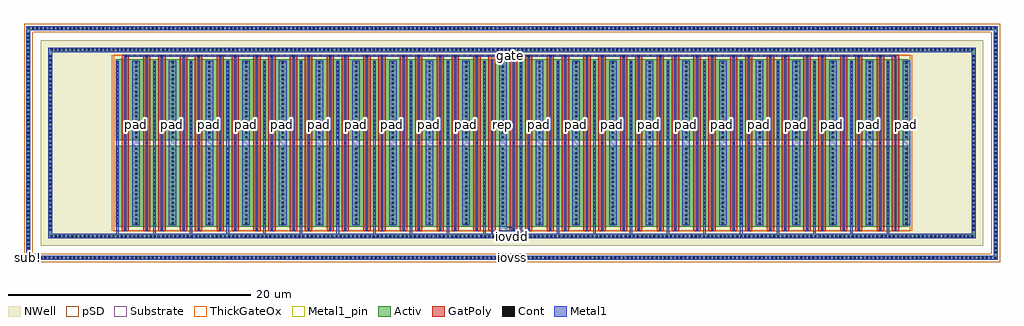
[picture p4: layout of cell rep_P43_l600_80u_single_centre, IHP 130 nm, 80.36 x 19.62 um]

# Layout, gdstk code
import gdstk
lib = gdstk.Library(unit=1e-6, precision=1e-09)
def R(c, l, rs):  # rectangles x0, y0, x1, y1
    for r in rs: c.add(gdstk.rectangle(r[:2], r[2:], *l))
def A(c, l, x, y, w, h, nx, ny, dx, dy):  # array of equal rectangles
    R(c, l, [(x+i*dx, y+j*dy, x+i*dx+w, y+j*dy+h) for i in range(nx) for j in range(ny)])
def P(c, l, *ps):  # polygons
    for p in ps: c.add(gdstk.Polygon(p, *l))
Activ = (1, 0)
GatPoly = (5, 0)
Cont = (6, 0)
Metal1 = (8, 0)
Metal1_pin = (8, 2)
pSD = (14, 0)
NWell = (31, 0)
Substrate = (40, 0)
ThickGateOx = (44, 0)

rep_p43_l600_80u_single_ = lib.new_cell('rep_P43_l600_80u_single_centre')
R(rep_p43_l600_80u_single_, Activ, [(7.385,2.75,72.615,9.41), (7.385,9.85,72.615,16.51)])
P(rep_p43_l600_80u_single_, Activ, [(1.8,1.8),(1.8,17.12),(2.14,17.12),(2.14,2.14),(77.86,2.14),(77.86,17.12),(1.8,17.12),(1.8,17.46),(78.2,17.46),(78.2,1.8)],
  [(0,0),(0,18.92),(0.34,18.92),(0.34,0.34),(79.66,0.34),(79.66,18.92),(0,18.92),(0,19.26),(80,19.26),(80,0)])
R(rep_p43_l600_80u_single_, GatPoly, [(7.855,2.38,8.455,16.88), (9.635,2.38,10.235,16.88), (10.875,2.38,11.475,16.88), (12.655,2.38,13.255,16.88), (13.895,2.38,14.495,16.88), (15.675,2.38,16.275,16.88), (16.915,2.38,17.515,16.88), (18.695,2.38,19.295,16.88), (19.935,2.38,20.535,16.88), (21.715,2.38,22.315,16.88), (22.955,2.38,23.555,16.88), (24.735,2.38,25.335,16.88), (25.975,2.38,26.575,16.88), (27.755,2.38,28.355,16.88), (28.995,2.38,29.595,16.88), (30.775,2.38,31.375,16.88), (32.015,2.38,32.615,16.88), (33.795,2.38,34.395,16.88), (35.035,2.38,35.635,16.88), (36.815,2.38,37.415,16.88), (38.055,2.38,38.655,16.88), (39.835,2.38,40.435,16.88), (41.075,2.38,41.675,16.88), (42.855,2.38,43.455,16.88), (44.095,2.38,44.695,16.88), (45.875,2.38,46.475,16.88), (47.115,2.38,47.715,16.88), (48.895,2.38,49.495,16.88), (50.135,2.38,50.735,16.88), (51.915,2.38,52.515,16.88), (53.155,2.38,53.755,16.88), (54.935,2.38,55.535,16.88), (56.175,2.38,56.775,16.88), (57.955,2.38,58.555,16.88), (59.195,2.38,59.795,16.88), (60.975,2.38,61.575,16.88), (62.215,2.38,62.815,16.88), (63.995,2.38,64.595,16.88), (65.235,2.38,65.835,16.88), (67.015,2.38,67.615,16.88), (68.255,2.38,68.855,16.88), (70.035,2.38,70.635,16.88), (71.275,2.38,71.875,16.88)])
A(rep_p43_l600_80u_single_, Cont, 0.14, 0.09, 0.16, 0.16, 235, 2, 0.34, 18.92)
A(rep_p43_l600_80u_single_, Cont, 0.09, 0.54, 0.16, 0.16, 1, 54, 0, 0.34)
A(rep_p43_l600_80u_single_, Cont, 79.75, 0.54, 0.16, 0.16, 1, 54, 0, 0.34)
A(rep_p43_l600_80u_single_, Cont, 2.01, 1.89, 0.16, 0.16, 224, 2, 0.34, 15.32)
A(rep_p43_l600_80u_single_, Cont, 1.89, 2.41, 0.16, 0.16, 1, 43, 0, 0.34)
A(rep_p43_l600_80u_single_, Cont, 77.95, 2.41, 0.16, 0.16, 1, 43, 0, 0.34)
A(rep_p43_l600_80u_single_, Cont, 8.075, 2.45, 0.16, 0.16, 1, 3, 0, 7.1)
A(rep_p43_l600_80u_single_, Cont, 9.855, 2.45, 0.16, 0.16, 1, 3, 0, 7.1)
A(rep_p43_l600_80u_single_, Cont, 11.095, 2.45, 0.16, 0.16, 1, 3, 0, 7.1)
A(rep_p43_l600_80u_single_, Cont, 12.875, 2.45, 0.16, 0.16, 1, 3, 0, 7.1)
A(rep_p43_l600_80u_single_, Cont, 14.115, 2.45, 0.16, 0.16, 1, 3, 0, 7.1)
A(rep_p43_l600_80u_single_, Cont, 15.895, 2.45, 0.16, 0.16, 1, 3, 0, 7.1)
A(rep_p43_l600_80u_single_, Cont, 17.135, 2.45, 0.16, 0.16, 1, 3, 0, 7.1)
A(rep_p43_l600_80u_single_, Cont, 18.915, 2.45, 0.16, 0.16, 1, 3, 0, 7.1)
A(rep_p43_l600_80u_single_, Cont, 20.155, 2.45, 0.16, 0.16, 1, 3, 0, 7.1)
A(rep_p43_l600_80u_single_, Cont, 21.935, 2.45, 0.16, 0.16, 1, 3, 0, 7.1)
A(rep_p43_l600_80u_single_, Cont, 23.175, 2.45, 0.16, 0.16, 1, 3, 0, 7.1)
A(rep_p43_l600_80u_single_, Cont, 24.955, 2.45, 0.16, 0.16, 1, 3, 0, 7.1)
A(rep_p43_l600_80u_single_, Cont, 26.195, 2.45, 0.16, 0.16, 1, 3, 0, 7.1)
A(rep_p43_l600_80u_single_, Cont, 27.975, 2.45, 0.16, 0.16, 1, 3, 0, 7.1)
A(rep_p43_l600_80u_single_, Cont, 29.215, 2.45, 0.16, 0.16, 1, 3, 0, 7.1)
A(rep_p43_l600_80u_single_, Cont, 30.995, 2.45, 0.16, 0.16, 1, 3, 0, 7.1)
A(rep_p43_l600_80u_single_, Cont, 32.235, 2.45, 0.16, 0.16, 1, 3, 0, 7.1)
A(rep_p43_l600_80u_single_, Cont, 34.015, 2.45, 0.16, 0.16, 1, 3, 0, 7.1)
A(rep_p43_l600_80u_single_, Cont, 35.255, 2.45, 0.16, 0.16, 1, 3, 0, 7.1)
A(rep_p43_l600_80u_single_, Cont, 37.035, 2.45, 0.16, 0.16, 1, 3, 0, 7.1)
A(rep_p43_l600_80u_single_, Cont, 41.295, 2.45, 0.16, 0.16, 1, 3, 0, 7.1)
A(rep_p43_l600_80u_single_, Cont, 43.075, 2.45, 0.16, 0.16, 1, 3, 0, 7.1)
A(rep_p43_l600_80u_single_, Cont, 44.315, 2.45, 0.16, 0.16, 1, 3, 0, 7.1)
A(rep_p43_l600_80u_single_, Cont, 46.095, 2.45, 0.16, 0.16, 1, 3, 0, 7.1)
A(rep_p43_l600_80u_single_, Cont, 47.335, 2.45, 0.16, 0.16, 1, 3, 0, 7.1)
A(rep_p43_l600_80u_single_, Cont, 49.115, 2.45, 0.16, 0.16, 1, 3, 0, 7.1)
A(rep_p43_l600_80u_single_, Cont, 50.355, 2.45, 0.16, 0.16, 1, 3, 0, 7.1)
A(rep_p43_l600_80u_single_, Cont, 52.135, 2.45, 0.16, 0.16, 1, 3, 0, 7.1)
A(rep_p43_l600_80u_single_, Cont, 53.375, 2.45, 0.16, 0.16, 1, 3, 0, 7.1)
A(rep_p43_l600_80u_single_, Cont, 55.155, 2.45, 0.16, 0.16, 1, 3, 0, 7.1)
A(rep_p43_l600_80u_single_, Cont, 56.395, 2.45, 0.16, 0.16, 1, 3, 0, 7.1)
A(rep_p43_l600_80u_single_, Cont, 58.175, 2.45, 0.16, 0.16, 1, 3, 0, 7.1)
A(rep_p43_l600_80u_single_, Cont, 59.415, 2.45, 0.16, 0.16, 1, 3, 0, 7.1)
A(rep_p43_l600_80u_single_, Cont, 61.195, 2.45, 0.16, 0.16, 1, 3, 0, 7.1)
A(rep_p43_l600_80u_single_, Cont, 62.435, 2.45, 0.16, 0.16, 1, 3, 0, 7.1)
A(rep_p43_l600_80u_single_, Cont, 64.215, 2.45, 0.16, 0.16, 1, 3, 0, 7.1)
A(rep_p43_l600_80u_single_, Cont, 65.455, 2.45, 0.16, 0.16, 1, 3, 0, 7.1)
A(rep_p43_l600_80u_single_, Cont, 67.235, 2.45, 0.16, 0.16, 1, 3, 0, 7.1)
A(rep_p43_l600_80u_single_, Cont, 68.475, 2.45, 0.16, 0.16, 1, 3, 0, 7.1)
A(rep_p43_l600_80u_single_, Cont, 70.255, 2.45, 0.16, 0.16, 1, 3, 0, 7.1)
A(rep_p43_l600_80u_single_, Cont, 71.495, 2.45, 0.16, 0.16, 1, 3, 0, 7.1)
A(rep_p43_l600_80u_single_, Cont, 7.455, 2.94, 0.16, 0.16, 44, 19, 1.51, 0.34)
A(rep_p43_l600_80u_single_, Cont, 7.455, 10.04, 0.16, 0.16, 44, 19, 1.51, 0.34)
R(rep_p43_l600_80u_single_, Cont, [(38.275,2.45,38.435,2.61), (40.055,2.45,40.215,2.61), (38.275,9.55,38.435,9.71), (40.055,9.55,40.215,9.71)])
A(rep_p43_l600_80u_single_, Metal1, 7.43, 1.8, 0.21, 14.6, 22, 1, 3.02, 0)
A(rep_p43_l600_80u_single_, Metal1, 8.735, 2.86, 0.62, 13.54, 10, 1, 3.02, 0)
A(rep_p43_l600_80u_single_, Metal1, 41.955, 2.86, 0.62, 13.54, 11, 1, 3.02, 0)
R(rep_p43_l600_80u_single_, Metal1, [(38.275,1.8,38.435,16.51), (8.075,2.37,8.235,16.73), (9.855,2.37,10.015,16.73), (11.095,2.37,11.255,16.73), (12.875,2.37,13.035,16.73), (14.115,2.37,14.275,16.73), (15.895,2.37,16.055,16.73), (17.135,2.37,17.295,16.73), (18.915,2.37,19.075,16.73), (20.155,2.37,20.315,16.73), (21.935,2.37,22.095,16.73), (23.175,2.37,23.335,16.73), (24.955,2.37,25.115,16.73), (26.195,2.37,26.355,16.73), (27.975,2.37,28.135,16.73), (29.215,2.37,29.375,16.73), (30.995,2.37,31.155,16.73), (32.235,2.37,32.395,16.73), (34.015,2.37,34.175,16.73), (35.255,2.37,35.415,16.73), (37.035,2.37,37.195,16.73), (38.935,2.37,39.555,16.4), (38.935,2.37,40.215,2.69), (40.055,2.37,40.215,16.51), (41.295,2.37,41.455,16.73), (43.075,2.37,43.235,16.73), (44.315,2.37,44.475,16.73), (46.095,2.37,46.255,16.73), (47.335,2.37,47.495,16.73), (49.115,2.37,49.275,16.73), (50.355,2.37,50.515,16.73), (52.135,2.37,52.295,16.73), (53.375,2.37,53.535,16.73), (55.155,2.37,55.315,16.73), (56.395,2.37,56.555,16.73), (58.175,2.37,58.335,16.73), (59.415,2.37,59.575,16.73), (61.195,2.37,61.355,16.73), (62.435,2.37,62.595,16.73), (64.215,2.37,64.375,16.73), (65.455,2.37,65.615,16.73), (67.235,2.37,67.395,16.73), (68.475,2.37,68.635,16.73), (70.255,2.37,70.415,16.73), (71.495,2.37,71.655,16.73), (8.075,16.73,71.655,16.89)])
P(rep_p43_l600_80u_single_, Metal1, [(1.8,1.8),(1.8,17.12),(2.14,17.12),(2.14,2.14),(77.86,2.14),(77.86,17.12),(1.8,17.12),(1.8,17.46),(78.2,17.46),(78.2,1.8)],
  [(0,0),(0,18.92),(0.34,18.92),(0.34,0.34),(79.66,0.34),(79.66,18.92),(0,18.92),(0,19.26),(80,19.26),(80,0)])
A(rep_p43_l600_80u_single_, Metal1_pin, 8.735, 2.86, 0.62, 13.54, 10, 1, 3.02, 0)
A(rep_p43_l600_80u_single_, Metal1_pin, 41.955, 2.86, 0.62, 13.54, 11, 1, 3.02, 0)
R(rep_p43_l600_80u_single_, Metal1_pin, [(0,0,80,0.34), (1.8,1.8,78.2,2.14), (38.935,2.37,39.555,16.4), (8.075,16.73,71.655,16.89)])
R(rep_p43_l600_80u_single_, pSD, [(7.205,2.35,72.795,16.91)])
P(rep_p43_l600_80u_single_, pSD, [(-0.18,-0.18),(-0.18,18.74),(0.52,18.74),(0.52,0.52),(79.48,0.52),(79.48,18.74),(-0.18,18.74),(-0.18,19.44),(80.18,19.44),(80.18,-0.18)])
R(rep_p43_l600_80u_single_, NWell, [(1.18,1.18,78.82,18.08), (6.765,2.13,73.235,17.13)])
P(rep_p43_l600_80u_single_, Substrate, [(0,0),(0,18.92),(0.34,18.92),(0.34,0.34),(79.66,0.34),(79.66,18.92),(0,18.92),(0,19.26),(80,19.26),(80,0)])
R(rep_p43_l600_80u_single_, ThickGateOx, [(7.045,2.41,72.955,16.85)])
rep_p43_l600_80u_single_.add(gdstk.Label('pad', (9.045,11.163), layer=8, texttype=25))
rep_p43_l600_80u_single_.add(gdstk.Label('pad', (12.065,11.163), layer=8, texttype=25))
rep_p43_l600_80u_single_.add(gdstk.Label('pad', (15.085,11.163), layer=8, texttype=25))
rep_p43_l600_80u_single_.add(gdstk.Label('pad', (18.105,11.163), layer=8, texttype=25))
rep_p43_l600_80u_single_.add(gdstk.Label('pad', (21.125,11.163), layer=8, texttype=25))
rep_p43_l600_80u_single_.add(gdstk.Label('pad', (24.145,11.163), layer=8, texttype=25))
rep_p43_l600_80u_single_.add(gdstk.Label('pad', (27.165,11.163), layer=8, texttype=25))
rep_p43_l600_80u_single_.add(gdstk.Label('pad', (30.185,11.163), layer=8, texttype=25))
rep_p43_l600_80u_single_.add(gdstk.Label('pad', (33.205,11.163), layer=8, texttype=25))
rep_p43_l600_80u_single_.add(gdstk.Label('pad', (36.225,11.163), layer=8, texttype=25))
rep_p43_l600_80u_single_.add(gdstk.Label('rep', (39.245,11.163), layer=8, texttype=25))
rep_p43_l600_80u_single_.add(gdstk.Label('pad', (42.265,11.163), layer=8, texttype=25))
rep_p43_l600_80u_single_.add(gdstk.Label('pad', (45.285,11.163), layer=8, texttype=25))
rep_p43_l600_80u_single_.add(gdstk.Label('pad', (48.305,11.163), layer=8, texttype=25))
rep_p43_l600_80u_single_.add(gdstk.Label('pad', (51.325,11.163), layer=8, texttype=25))
rep_p43_l600_80u_single_.add(gdstk.Label('pad', (54.345,11.163), layer=8, texttype=25))
rep_p43_l600_80u_single_.add(gdstk.Label('pad', (57.365,11.163), layer=8, texttype=25))
rep_p43_l600_80u_single_.add(gdstk.Label('pad', (60.385,11.163), layer=8, texttype=25))
rep_p43_l600_80u_single_.add(gdstk.Label('pad', (63.405,11.163), layer=8, texttype=25))
rep_p43_l600_80u_single_.add(gdstk.Label('pad', (66.425,11.163), layer=8, texttype=25))
rep_p43_l600_80u_single_.add(gdstk.Label('pad', (69.445,11.163), layer=8, texttype=25))
rep_p43_l600_80u_single_.add(gdstk.Label('pad', (72.465,11.163), layer=8, texttype=25))
rep_p43_l600_80u_single_.add(gdstk.Label('gate', (39.865,16.81), layer=8, texttype=25))
rep_p43_l600_80u_single_.add(gdstk.Label('iovdd', (40,1.97), layer=8, texttype=25))
rep_p43_l600_80u_single_.add(gdstk.Label('iovss', (40,0.17), layer=8, texttype=25))
rep_p43_l600_80u_single_.add(gdstk.Label('sub!', (0.17,0.17), layer=63, texttype=0))

lib.write_gds('rep_P43_l600_80u_single_centre.gds')
